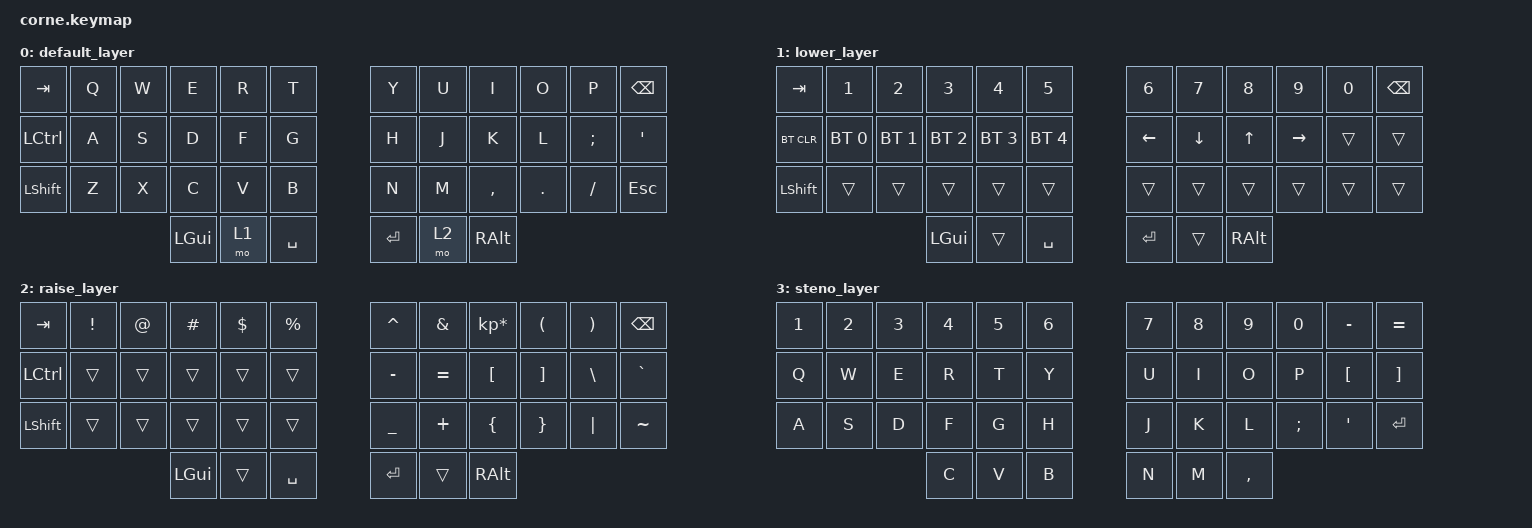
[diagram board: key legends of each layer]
/*
 * Copyright (c) 2020 The ZMK Contributors
 *
 * SPDX-License-Identifier: MIT
 */

#include <behaviors.dtsi>
#include <dt-bindings/zmk/keys.h>
#include <dt-bindings/zmk/bt.h>

#define default_layer 0
#define lower_layer 1
#define raise_layer 2
#define steno_layer 3

/{
    combos {
        compatible = "zmk,combos";
        combo_steno {
            timeout-ms = <100>;
            key-positions = <0 11>;
            bindings = <&tog 3>;
        };
    };
    
        keymap {
                compatible = "zmk,keymap";

                default_layer {
// -----------------------------------------------------------------------------------------
// |  TAB |  Q  |  W  |  E  |  R  |  T  |   |  Y  |  U   |  I  |  O  |  P  | BKSP |
// | CTRL |  A  |  S  |  D  |  F  |  G  |   |  H  |  J   |  K  |  L  |  ;  |  '   |
// | SHFT |  Z  |  X  |  C  |  V  |  B  |   |  N  |  M   |  ,  |  .  |  /  | ESC  |
//                    | GUI | LWR | SPC |   | ENT | RSE  | ALT |
                        bindings = <
   &kp TAB   &kp Q &kp W &kp E &kp R &kp T   &kp Y &kp U  &kp I     &kp O   &kp P    &kp BSPC
   &kp LCTRL &kp A &kp S &kp D &kp F &kp G   &kp H &kp J  &kp K     &kp L   &kp SEMI &kp SQT
   &kp LSHFT &kp Z &kp X &kp C &kp V &kp B   &kp N &kp M  &kp COMMA &kp DOT &kp FSLH &kp ESC
                  &kp LGUI &mo 1 &kp SPACE   &kp RET &mo 2 &kp RALT
                        >;
                };
                lower_layer {
// -----------------------------------------------------------------------------------------
// |  TAB |  1  |  2  |  3  |  4  |  5  |   |  6  |  7  |  8  |  9  |  0  | BKSP |
// | BTCLR| BT1 | BT2 | BT3 | BT4 | BT5 |   | LFT | DWN |  UP | RGT |     |      |
// | SHFT |     |     |     |     |     |   |     |     |     |     |     |      |
//                    | GUI |     | SPC |   | ENT |     | ALT |
                        bindings = <
   &kp TAB    &kp N1       &kp N2       &kp N3       &kp N4       &kp N5         &kp N6   &kp N7   &kp N8 &kp N9    &kp N0 &kp BSPC
   &bt BT_CLR &bt BT_SEL 0 &bt BT_SEL 1 &bt BT_SEL 2 &bt BT_SEL 3 &bt BT_SEL 4   &kp LEFT &kp DOWN &kp UP &kp RIGHT &trans &trans
   &kp LSHFT  &trans       &trans       &trans       &trans       &trans         &trans   &trans   &trans &trans    &trans &trans
                          	        &kp LGUI     &trans       &kp SPACE      &kp RET  &trans   &kp RALT
                        >;
                };

                raise_layer {
// -----------------------------------------------------------------------------------------
// |  TAB |  !  |  @  |  #  |  $  |  %  |   |  ^  |  &  |  *  |  (  |  )  | BKSP |
// | CTRL |     |     |     |     |     |   |  -  |  =  |  [  |  ]  |  \  |  `   |
// | SHFT |     |     |     |     |     |   |  _  |  +  |  {  |  }  | "|" |  ~   |
//                    | GUI |     | SPC |   | ENT |     | ALT |
                        bindings = <
   &kp  TAB  &kp EXCL &kp AT &kp HASH &kp DLLR &kp PRCNT   &kp CARET &kp AMPS  &kp KP_MULTIPLY &kp LPAR &kp RPAR &kp BSPC
   &kp LCTRL &trans   &trans &trans   &trans   &trans      &kp MINUS &kp EQUAL &kp LBKT        &kp RBKT &kp BSLH &kp GRAVE
   &kp LSHFT &trans   &trans &trans   &trans   &trans      &kp UNDER &kp PLUS  &kp LBRC        &kp RBRC &kp PIPE &kp TILDE
                    	     &kp LGUI &trans   &kp SPACE   &kp RET   &trans    &kp RALT
                        >;
                };
                
               steno_layer {
                        bindings = <
   &kp N1  &kp N2  &kp N3  &kp N4  &kp N5   &kp N6      &kp N7  &kp N8  &kp N9  &kp N0     &kp MINUS  &kp EQUAL
   &kp Q   &kp W   &kp E   &kp R   &kp T    &kp Y       &kp U   &kp I   &kp O   &kp P      &kp LBKT   &kp RBKT 
   &kp A   &kp S   &kp D   &kp F   &kp G    &kp H       &kp J   &kp K   &kp L   &kp SEMI   &kp APOS   &kp ENTER
                           &kp C   &kp V    &kp B       &kp N   &kp M   &kp COMMA 
                           >;
                };
        };
};
